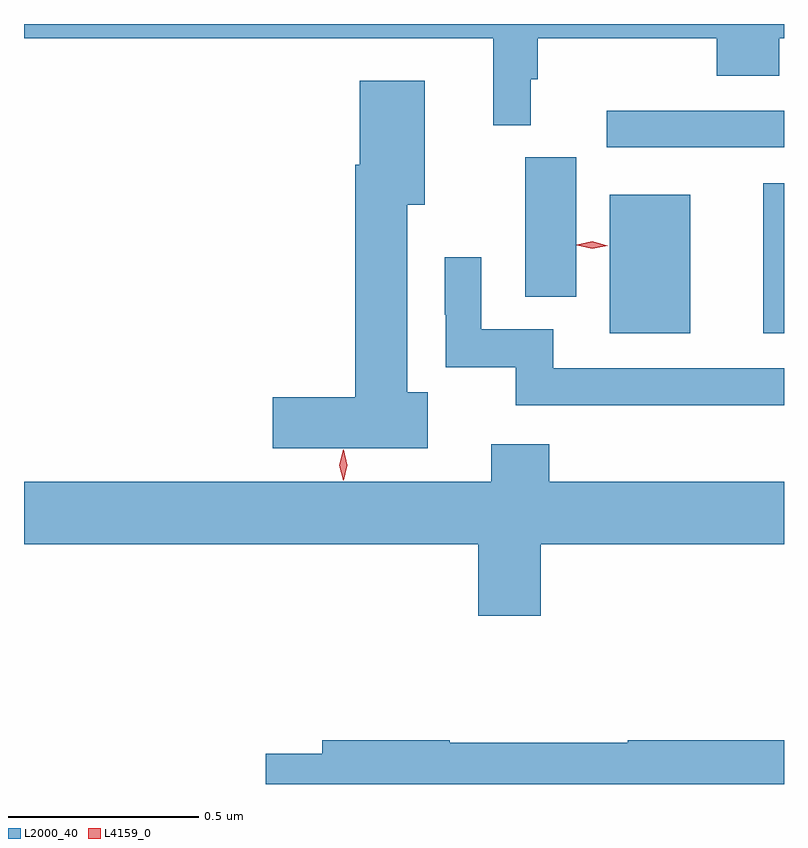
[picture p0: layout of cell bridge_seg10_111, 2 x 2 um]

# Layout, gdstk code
import gdstk
lib = gdstk.Library(unit=1e-6, precision=1e-09)
def R(c, l, rs):  # rectangles x0, y0, x1, y1
    for r in rs: c.add(gdstk.rectangle(r[:2], r[2:], *l))
def P(c, l, *ps):  # polygons
    for p in ps: c.add(gdstk.Polygon(p, *l))
L2000_40 = (2000, 40)
L4159_0 = (4159, 0)

bridge_seg10_111 = lib.new_cell('bridge_seg10_111')
R(bridge_seg10_111, L2000_40, [(477.041,1280.891,477.253,1281.256), (477.446,1280.891,477.5,1281.286), (476.819,1280.987,476.953,1281.354), (477.033,1281.381,477.5,1281.477)])
P(bridge_seg10_111, L2000_40, [(476.834,1281.56),(476.852,1281.56),(476.852,1281.668),(477.323,1281.668),(477.323,1281.569),(477.488,1281.569),(477.488,1281.668),(477.5,1281.668),(477.5,1281.705),(475.5,1281.705),(475.5,1281.668),(476.735,1281.668),(476.735,1281.439),(476.834,1281.439)],
  [(476.563,1280.736),(476.509,1280.736),(476.509,1281.23),(476.554,1281.23),(476.554,1281.556),(476.384,1281.556),(476.384,1281.334),(476.372,1281.334),(476.372,1280.723),(476.154,1280.723),(476.154,1280.588),(476.563,1280.588)],
  [(477.5,1280.799),(476.893,1280.799),(476.893,1280.902),(476.703,1280.902),(476.703,1281.091),(476.607,1281.091),(476.607,1280.94),(476.61,1280.94),(476.61,1280.802),(476.794,1280.802),(476.794,1280.702),(477.5,1280.702)],
  [(476.86,1280.336),(477.5,1280.336),(477.5,1280.5),(476.882,1280.5),(476.882,1280.599),(476.729,1280.599),(476.729,1280.5),(475.5,1280.5),(475.5,1280.336),(476.696,1280.336),(476.696,1280.148),(476.86,1280.148)],
  [(477.5,1279.82),(477.089,1279.82),(477.089,1279.813),(476.62,1279.813),(476.62,1279.82),(476.285,1279.82),(476.285,1279.784),(476.136,1279.784),(476.136,1279.705),(477.5,1279.705)])
P(bridge_seg10_111, L4159_0, [(476.996,1281.113),(476.955,1281.123),(476.955,1281.124),(476.955,1281.124),(476.996,1281.133),(477.036,1281.122),(477.036,1281.122),(477.036,1281.122)],
  [(476.34,1280.504),(476.34,1280.504),(476.33,1280.544),(476.34,1280.584),(476.34,1280.584),(476.341,1280.584),(476.35,1280.544),(476.341,1280.504)])

lib.write_gds('bridge_seg10_111.gds')
